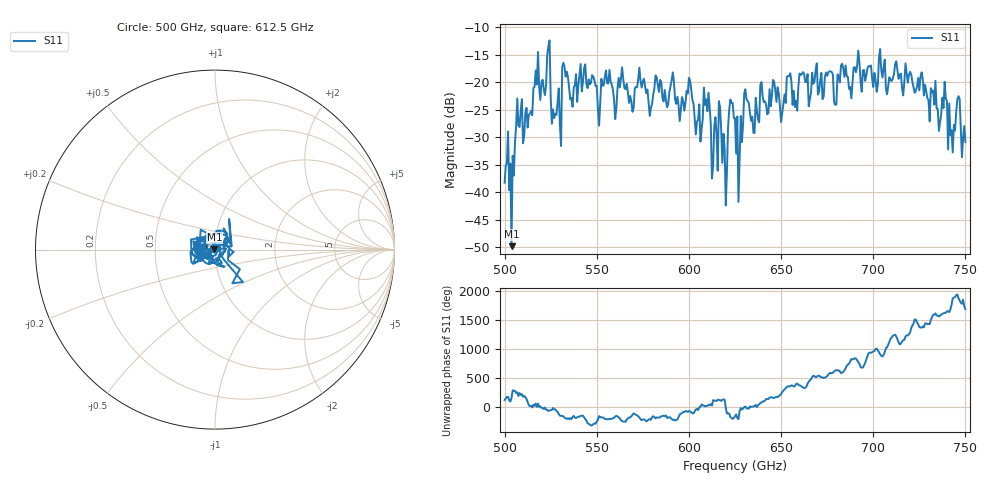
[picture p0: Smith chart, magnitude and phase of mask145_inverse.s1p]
!Created with skrf (http://scikit-rf.org).
# GHz S MA R 50.0
!freq magS11 angS11
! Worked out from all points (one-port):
!   401 points, 500 GHz to 750 GHz, reference 50 ohm
!   lowest |S11| = -49.8 dB at 503.8 GHz (marker M1), VSWR 1.01, Z = 49.7 + j0.0845 ohm
!   |S11| at or under -10 dB: start of sweep to end of sweep
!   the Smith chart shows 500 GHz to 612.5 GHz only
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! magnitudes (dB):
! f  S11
! 500 GHz  -38.3
! 503.8 GHz  -49.8
! 508.1 GHz  -28.2
! 513.8 GHz  -25.7
! 516.9 GHz  -17.9
! 523.8 GHz  -13.5
! 526.9 GHz  -26.5
! 531.2 GHz  -17.2
! 532.5 GHz  -17.2
! 550.6 GHz  -24.9
! 562.5 GHz  -21.0
! 593.8 GHz  -22.7
! 600 GHz  -19.2
! 605 GHz  -26.8
! 609.4 GHz  -23.1
! 612.5 GHz  -37.5
! 617.5 GHz  -28.6
! 619.4 GHz  -32.1
! 622.5 GHz  -23.2
! 625 GHz  -26.6
! 628.1 GHz  -26.2
! 631.2 GHz  -23.2
! 634.4 GHz  -26.3
! 656.2 GHz  -24.2
! 687.5 GHz  -20.9
! 718.8 GHz  -20.1
! 746.2 GHz  -22.6
! 750 GHz  -30.9
